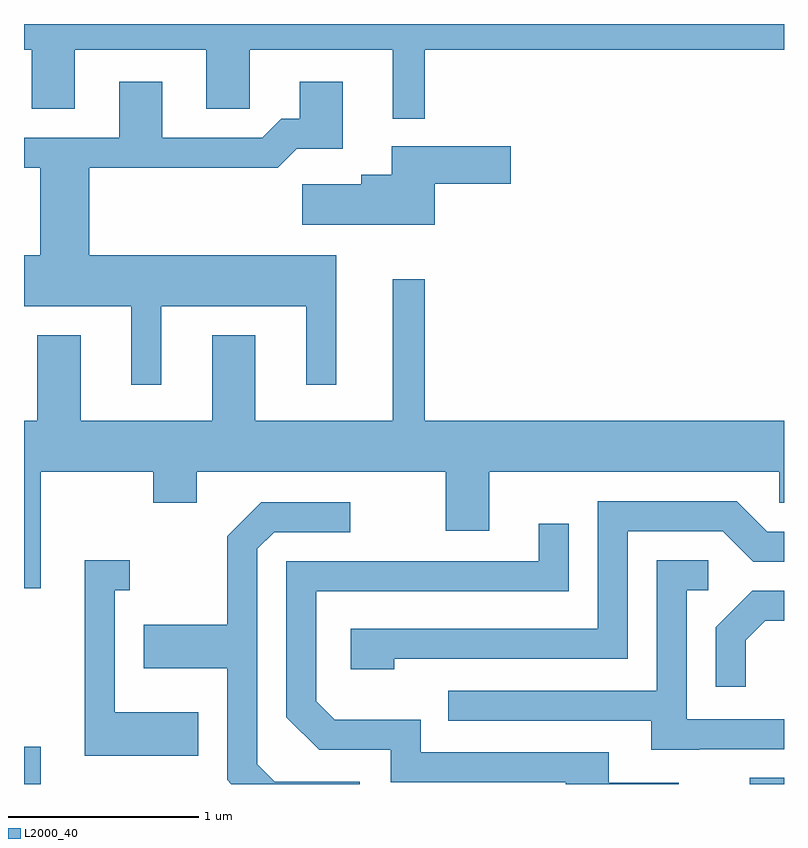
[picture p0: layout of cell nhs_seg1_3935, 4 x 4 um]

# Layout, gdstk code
import gdstk
lib = gdstk.Library(unit=1e-6, precision=1e-09)
def R(c, l, rs):  # rectangles x0, y0, x1, y1
    for r in rs: c.add(gdstk.rectangle(r[:2], r[2:], *l))
def P(c, l, *ps):  # polygons
    for p in ps: c.add(gdstk.Polygon(p, *l))
L2000_40 = (2000, 40)

nhs_seg1_3935 = lib.new_cell('nhs_seg1_3935')
R(nhs_seg1_3935, L2000_40, [(303.611,895.712,303.699,895.909), (307.431,895.712,307.611,895.744)])
P(nhs_seg1_3935, L2000_40, [(305.719,899.576),(307.611,899.576),(307.611,899.712),(303.611,899.712),(303.611,899.576),(303.651,899.576),(303.651,899.266),(303.879,899.266),(303.879,899.576),(304.571,899.576),(304.571,899.266),(304.799,899.266),(304.799,899.576),(305.551,899.576),(305.551,899.213),(305.719,899.213)],
  [(304.334,898.226),(305.096,898.226),(305.096,897.813),(305.254,897.813),(305.254,898.494),(303.954,898.494),(303.954,898.956),(304.947,898.956),(305.047,899.056),(305.289,899.056),(305.289,899.409),(305.061,899.409),(305.061,899.214),(304.964,899.214),(304.864,899.114),(304.339,899.114),(304.339,899.409),(304.111,899.409),(304.111,899.114),(303.611,899.114),(303.611,898.956),(303.696,898.956),(303.696,898.494),(303.611,898.494),(303.611,898.226),(304.176,898.226),(304.176,897.813),(304.334,897.813)],
  [(305.774,898.871),(306.174,898.871),(306.174,899.069),(305.546,899.069),(305.546,898.919),(305.386,898.919),(305.386,898.869),(305.076,898.869),(305.076,898.656),(305.774,898.656)],
  [(305.831,897.046),(306.059,897.046),(306.059,897.356),(307.586,897.356),(307.586,897.191),(307.611,897.191),(307.611,897.624),(305.719,897.624),(305.719,898.368),(305.551,898.368),(305.551,897.624),(304.829,897.624),(304.829,898.074),(304.601,898.074),(304.601,897.624),(303.909,897.624),(303.909,898.074),(303.681,898.074),(303.681,897.624),(303.611,897.624),(303.611,896.741),(303.699,896.741),(303.699,897.356),(304.291,897.356),(304.291,897.191),(304.519,897.191),(304.519,897.356),(305.831,897.356)],
  [(305.559,896.371),(306.789,896.371),(306.789,897.041),(307.289,897.041),(307.449,896.881),(307.611,896.881),(307.611,897.039),(307.522,897.039),(307.362,897.199),(306.631,897.199),(306.631,896.529),(305.331,896.529),(305.331,896.316),(305.559,896.316)],
  [(305.378,895.724),(304.932,895.724),(304.839,895.817),(304.839,896.949),(304.927,897.036),(305.328,897.036),(305.328,897.194),(304.859,897.194),(304.681,897.017),(304.681,896.549),(304.241,896.549),(304.241,896.321),(304.681,896.321),(304.681,895.734),(304.703,895.712),(305.378,895.712)],
  [(307.058,895.719),(306.689,895.719),(306.689,895.879),(305.699,895.879),(305.699,896.049),(305.247,896.049),(305.149,896.147),(305.149,896.726),(306.479,896.726),(306.479,897.083),(306.321,897.083),(306.321,896.884),(304.991,896.884),(304.991,896.064),(305.164,895.891),(305.541,895.891),(305.541,895.721),(306.461,895.721),(306.461,895.712),(307.058,895.712)],
  [(307.165,895.896),(307.611,895.896),(307.611,896.054),(307.099,896.054),(307.099,896.731),(307.213,896.731),(307.213,896.889),(306.941,896.889),(306.941,896.204),(305.843,896.204),(305.843,896.046),(306.911,896.046),(306.911,895.891),(307.165,895.891)],
  [(304.529,896.089),(304.089,896.089),(304.089,896.731),(304.168,896.731),(304.168,896.889),(303.931,896.889),(303.931,895.861),(304.529,895.861)],
  [(307.409,896.469),(307.512,896.571),(307.611,896.571),(307.611,896.729),(307.444,896.729),(307.251,896.537),(307.251,896.223),(307.409,896.223)])

lib.write_gds('nhs_seg1_3935.gds')
